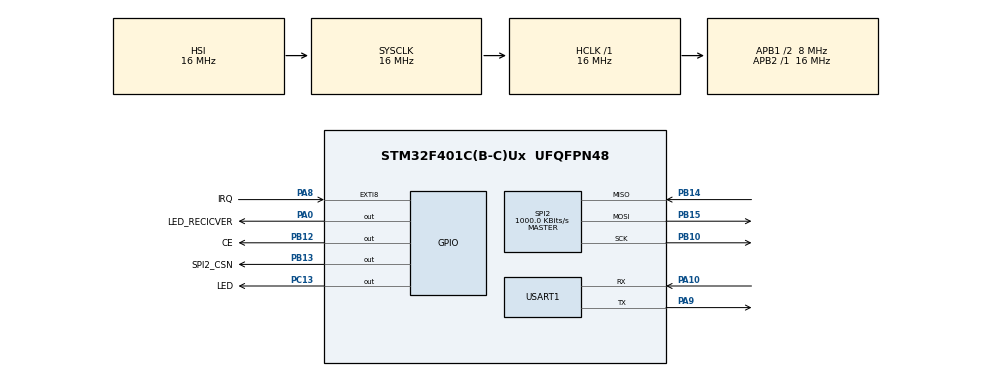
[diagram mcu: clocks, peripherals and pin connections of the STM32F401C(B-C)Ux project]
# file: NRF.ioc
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Mcu.Family=STM32F4
Mcu.Name=STM32F401C(B-C)Ux
Mcu.Package=UFQFPN48
NVIC.EXTI9_5_IRQn=true\:0\:0\:false\:false\:true\:true\:true\:true
NVIC.PriorityGroup=NVIC_PRIORITYGROUP_4
PA0-WKUP.GPIO_Label=LED_RECICVER
PA0-WKUP.GPIO_Speed=GPIO_SPEED_FREQ_VERY_HIGH
PA0-WKUP.Signal=GPIO_Output
PA10.Mode=Asynchronous
PA10.Signal=USART1_RX
PA8.GPIO_Label=IRQ
PA8.GPIO_ModeDefaultEXTI=GPIO_MODE_IT_FALLING
PA8.Signal=GPXTI8
PA9.Mode=Asynchronous
PA9.Signal=USART1_TX
PB10.Mode=Full_Duplex_Master
PB10.Signal=SPI2_SCK
PB12.GPIO_Label=CE
PB12.GPIO_Speed=GPIO_SPEED_FREQ_HIGH
PB12.Signal=GPIO_Output
PB13.GPIO_Label=SPI2_CSN
PB13.GPIO_Speed=GPIO_SPEED_FREQ_HIGH
PB13.PinState=GPIO_PIN_SET
PB13.Signal=GPIO_Output
PB14.Mode=Full_Duplex_Master
PB14.Signal=SPI2_MISO
PB15.Mode=Full_Duplex_Master
PB15.Signal=SPI2_MOSI
PC13-ANTI_TAMP.GPIO_Label=LED
PC13-ANTI_TAMP.PinState=GPIO_PIN_SET
PC13-ANTI_TAMP.Signal=GPIO_Output
ProjectManager.HeapSize=0x200
ProjectManager.StackSize=0x400
ProjectManager.TargetToolchain=STM32CubeIDE
RCC.48MHZClocksFreq_Value=32000000
RCC.AHBFreq_Value=16000000
RCC.APB1CLKDivider=RCC_HCLK_DIV2
RCC.APB1Freq_Value=8000000
RCC.APB1TimFreq_Value=16000000
RCC.APB2Freq_Value=16000000
RCC.APB2TimFreq_Value=16000000
RCC.CortexFreq_Value=16000000
RCC.HCLKFreq_Value=16000000
RCC.HSE_VALUE=25000000
RCC.HSI_VALUE=16000000
RCC.LSE_VALUE=32768
RCC.PLLM=12
RCC.PLLN=96
RCC.SYSCLKFreq_VALUE=16000000
RCC.VCOOutputFreq_Value=128000000
SPI2.BaudRatePrescaler=SPI_BAUDRATEPRESCALER_8
SPI2.CalculateBaudRate=1000.0 KBits/s
SPI2.Direction=SPI_DIRECTION_2LINES
SPI2.Mode=SPI_MODE_MASTER
SPI2.VirtualType=VM_MASTER
USART1.VirtualMode=VM_ASYNC
board=custom

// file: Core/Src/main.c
/* USER CODE BEGIN Header */
/**
  ******************************************************************************
  * @file           : main.c
  * @brief          : Main program body
  ******************************************************************************
  * @attention
  *
  * <h2><center>&copy; Copyright (c) 2021 STMicroelectronics.
  * All rights reserved.</center></h2>
  *
  * This software component is licensed by ST under BSD 3-Clause license,
  * the "License"; You may not use this file except in compliance with the
  * License. You may obtain a copy of the License at:
  *                        opensource.org/licenses/BSD-3-Clause
  *
  ******************************************************************************
  */
/* USER CODE END Header */
#include "main.h"
#include "spi.h"
#include "usart.h"
#include "gpio.h"

/* USER CODE BEGIN Includes */

#include "nrf24l01p/nrf24l01p.h"

/* USER CODE END Includes */

/* USER CODE BEGIN PD */

//#define TRANSMITTER
#define RECEIVER

/* USER CODE END PD */

/* USER CODE BEGIN PV */
volatile static uint8_t recieved_flag = 0;
uint8_t rx_data[NRF24L01P_PAYLOAD_LENGTH] = {0};
uint8_t tx_data[NRF24L01P_PAYLOAD_LENGTH] = {0, 1, 2, 3, 4, 5, 6, 7};

/* USER CODE END PV */

void SystemClock_Config(void);
/* USER CODE BEGIN PFP */

void HAL_GPIO_EXTI_Callback(uint16_t GPIO_Pin);

/* USER CODE END PFP */

int main(void)
{

  /* MCU Configuration--------------------------------------------------------*/

  /* Reset of all peripherals, Initializes the Flash interface and the Systick. */
  HAL_Init();

  /* Configure the system clock */
  SystemClock_Config();

  /* Initialize all configured peripherals */
  MX_GPIO_Init();
  MX_SPI2_Init();
  MX_USART1_UART_Init();
  /* USER CODE BEGIN 2 */

#ifdef RECEIVER
  	nrf24l01p_rx_init(2500, _1Mbps);
#endif

 #ifdef TRANSMITTER
	nrf24l01p_tx_init(2500, _1Mbps);
 #endif

  /* USER CODE END 2 */

  /* Infinite loop */
  while (1)
  {

    /* USER CODE BEGIN 3 */
#ifdef RECEIVER
	  // Nothing to do
	  if(recieved_flag == 1)
	  {
		  HAL_UART_Transmit(&huart1, rx_data, NRF24L01P_PAYLOAD_LENGTH, 2000);
		  HAL_UART_Transmit(&huart1, (uint8_t*)"\r\n", 5, 2000);
		  if (
		  		rx_data[0] == 0 &&
		  		rx_data[1] == 1 &&
		  		rx_data[2] == 2 &&
		  		rx_data[3] == 3 &&
		  		rx_data[4] == 4 &&
		  		rx_data[5] == 5 &&
		  		rx_data[6] == 6 &&
		  		rx_data[7] == 7
		  		)
		  {
			  HAL_GPIO_WritePin(LED_RECICVER_GPIO_Port, LED_RECICVER_Pin, GPIO_PIN_SET);
		  }
//		  HAL_UART_Transmit_IT(&huart1, rx_data, 8);
		  recieved_flag = 0;
	  }
#endif

#ifdef TRANSMITTER

	  for(int i= 0; i < 8; i++)
	  {
		  tx_data[i]++;
	  }

	  nrf24l01p_tx_transmit(tx_data);
#endif

	  HAL_Delay(100);

  }
  /* USER CODE END 3 */
}

void SystemClock_Config(void)
{
  RCC_OscInitTypeDef RCC_OscInitStruct = {0};
  RCC_ClkInitTypeDef RCC_ClkInitStruct = {0};

  /** Configure the main internal regulator output voltage
  */
  __HAL_RCC_PWR_CLK_ENABLE();
  __HAL_PWR_VOLTAGESCALING_CONFIG(PWR_REGULATOR_VOLTAGE_SCALE2);

  /** Initializes the RCC Oscillators according to the specified parameters
  * in the RCC_OscInitTypeDef structure.
  */
  RCC_OscInitStruct.OscillatorType = RCC_OSCILLATORTYPE_HSI;
  RCC_OscInitStruct.HSIState = RCC_HSI_ON;
  RCC_OscInitStruct.HSICalibrationValue = RCC_HSICALIBRATION_DEFAULT;
  RCC_OscInitStruct.PLL.PLLState = RCC_PLL_NONE;
  if (HAL_RCC_OscConfig(&RCC_OscInitStruct) != HAL_OK)
  {
    Error_Handler();
  }

  /** Initializes the CPU, AHB and APB buses clocks
  */
  RCC_ClkInitStruct.ClockType = RCC_CLOCKTYPE_HCLK|RCC_CLOCKTYPE_SYSCLK
                              |RCC_CLOCKTYPE_PCLK1|RCC_CLOCKTYPE_PCLK2;
  RCC_ClkInitStruct.SYSCLKSource = RCC_SYSCLKSOURCE_HSI;
  RCC_ClkInitStruct.AHBCLKDivider = RCC_SYSCLK_DIV1;
  RCC_ClkInitStruct.APB1CLKDivider = RCC_HCLK_DIV2;
  RCC_ClkInitStruct.APB2CLKDivider = RCC_HCLK_DIV1;

  if (HAL_RCC_ClockConfig(&RCC_ClkInitStruct, FLASH_LATENCY_0) != HAL_OK)
  {
    Error_Handler();
  }
}

/* USER CODE BEGIN 4 */

void HAL_GPIO_EXTI_Callback(uint16_t GPIO_Pin)
{
	if(GPIO_Pin == NRF24L01P_IRQ_PIN_NUMBER)
	{
#ifdef RECEIVER
	    nrf24l01p_rx_receive(rx_data);
	    recieved_flag = 1;
#endif

#ifdef TRANSMITTER
		nrf24l01p_tx_irq();
#endif
	}

}

/* USER CODE END 4 */

void Error_Handler(void)
{
  __disable_irq();
  while (1)
  {
  }
}
